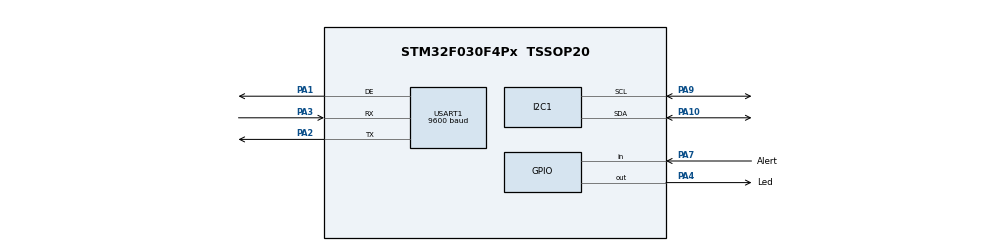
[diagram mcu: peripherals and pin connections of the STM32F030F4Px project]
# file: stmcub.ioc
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Mcu.Family=STM32F0
PA10.Mode=I2C
USART1.BaudRate=9600
VP_IWDG_VS_IWDG.Mode=IWDG_Activate
USART1.WordLength=WORDLENGTH_8B
ProjectManager.StackSize=0x400
USART1.VirtualMode-Asynchronous=VM_ASYNC
PA3.Mode=Asynchronous
PA9.Mode=I2C
ProjectManager.TargetToolchain=MDK-ARM V5.27
PA9.Signal=I2C1_SCL
PA1.Signal=USART1_DE
PF0-OSC_IN.Mode=HSE-External-Oscillator
board=custom
PA1.Mode=Hardware Flow Control (RS485)
USART1.VirtualMode-Hardware\ Flow\ Control\ (RS485)=VM_ASYNC
Mcu.Name=STM32F030F4Px
PA2.Signal=USART1_TX
PA4.Signal=GPIO_Output
Mcu.Package=TSSOP20
PA7.GPIO_Label=Alert
PA10.Signal=I2C1_SDA
ProjectManager.HeapSize=0x200
IWDG.Prescaler=IWDG_PRESCALER_16
PA2.Mode=Asynchronous
PF0-OSC_IN.Signal=RCC_OSC_IN
PF1-OSC_OUT.Mode=HSE-External-Oscillator
PA4.GPIO_Label=Led
PF1-OSC_OUT.Signal=RCC_OSC_OUT
PA3.Signal=USART1_RX
PA7.Signal=GPIO_Input

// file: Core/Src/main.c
/* USER CODE BEGIN Header */
/**
  ******************************************************************************
  * @file           : main.c
  * @brief          : Main program body
  ******************************************************************************
  * @attention
  *
  * <h2><center>&copy; Copyright (c) 2021 STMicroelectronics.
  * All rights reserved.</center></h2>
  *
  * This software component is licensed by ST under BSD 3-Clause license,
  * the "License"; You may not use this file except in compliance with the
  * License. You may obtain a copy of the License at:
  *                        opensource.org/licenses/BSD-3-Clause
  *
  ******************************************************************************
  */
/* USER CODE END Header */
#include "main.h"
#include "i2c.h"
#include "iwdg.h"
#include "usart.h"
#include "gpio.h"

/* USER CODE BEGIN Includes */
#include "sht3x_Ar.h"
/* USER CODE END Includes */

/* USER CODE BEGIN PV */
  float hum;
  float tmp;
	char buffer[40];
  int j;
/* USER CODE END PV */

void SystemClock_Config(void);

int main(void)
{

  /* MCU Configuration--------------------------------------------------------*/

  /* Reset of all peripherals, Initializes the Flash interface and the Systick. */
  HAL_Init();

  /* Configure the system clock */
  SystemClock_Config();

  /* Initialize all configured peripherals */
  MX_GPIO_Init();
  MX_I2C1_Init();
  MX_USART1_UART_Init();
  MX_IWDG_Init();
  /* USER CODE BEGIN 2 */
			sprintf(buffer,"((nn-nn))\r\n");
		HAL_UART_Transmit(&huart1,buffer,40,1000);
reset();
heater(0);
  /* USER CODE END 2 */

  /* Infinite loop */
  while (1)
  {

    /* USER CODE BEGIN 3 */
		HAL_IWDG_Refresh(&hiwdg);
		HAL_Delay(100);
		j++;
		if(j>=10)
		{
		HAL_GPIO_TogglePin(Led_GPIO_Port,Led_Pin);
		j=0;
		tmp = readTemperature();

		hum = readHumidity();

		if (tmp>=0)
		sprintf(buffer,"((+%05.1f,%05.1f_+%05.1f,%05.1f))\r\n",tmp,hum,tmp,hum);
		else
		sprintf(buffer,"((-%05.1f,%05.1f_-%05.1f,%05.1f))\r\n",tmp,hum,tmp,hum);
		HAL_UART_Transmit(&huart1,buffer,40,1000);
		}
  }
  /* USER CODE END 3 */
}

void SystemClock_Config(void)
{
  RCC_OscInitTypeDef RCC_OscInitStruct = {0};
  RCC_ClkInitTypeDef RCC_ClkInitStruct = {0};
  RCC_PeriphCLKInitTypeDef PeriphClkInit = {0};

  /** Initializes the RCC Oscillators according to the specified parameters
  * in the RCC_OscInitTypeDef structure.
  */
  RCC_OscInitStruct.OscillatorType = RCC_OSCILLATORTYPE_HSI|RCC_OSCILLATORTYPE_LSI;
  RCC_OscInitStruct.HSIState = RCC_HSI_ON;
  RCC_OscInitStruct.HSICalibrationValue = RCC_HSICALIBRATION_DEFAULT;
  RCC_OscInitStruct.LSIState = RCC_LSI_ON;
  RCC_OscInitStruct.PLL.PLLState = RCC_PLL_NONE;
  if (HAL_RCC_OscConfig(&RCC_OscInitStruct) != HAL_OK)
  {
    Error_Handler();
  }
  /** Initializes the CPU, AHB and APB buses clocks
  */
  RCC_ClkInitStruct.ClockType = RCC_CLOCKTYPE_HCLK|RCC_CLOCKTYPE_SYSCLK
                              |RCC_CLOCKTYPE_PCLK1;
  RCC_ClkInitStruct.SYSCLKSource = RCC_SYSCLKSOURCE_HSI;
  RCC_ClkInitStruct.AHBCLKDivider = RCC_SYSCLK_DIV1;
  RCC_ClkInitStruct.APB1CLKDivider = RCC_HCLK_DIV1;

  if (HAL_RCC_ClockConfig(&RCC_ClkInitStruct, FLASH_LATENCY_0) != HAL_OK)
  {
    Error_Handler();
  }
  PeriphClkInit.PeriphClockSelection = RCC_PERIPHCLK_USART1|RCC_PERIPHCLK_I2C1;
  PeriphClkInit.Usart1ClockSelection = RCC_USART1CLKSOURCE_PCLK1;
  PeriphClkInit.I2c1ClockSelection = RCC_I2C1CLKSOURCE_HSI;
  if (HAL_RCCEx_PeriphCLKConfig(&PeriphClkInit) != HAL_OK)
  {
    Error_Handler();
  }
}

void Error_Handler(void)
{
  __disable_irq();
  while (1)
  {
  }
}

/************************ (C) COPYRIGHT STMicroelectronics *****END OF FILE****/
